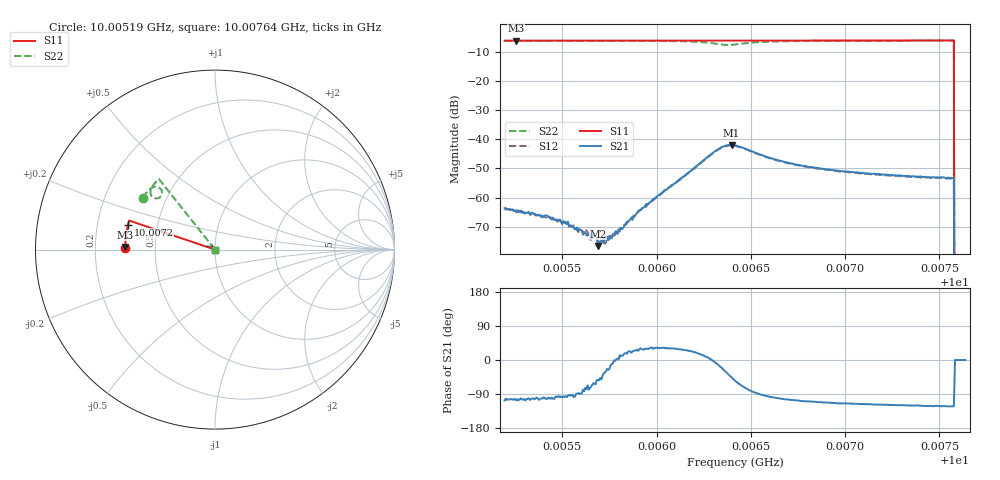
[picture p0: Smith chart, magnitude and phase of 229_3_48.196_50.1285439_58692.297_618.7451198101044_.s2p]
#  HZ  S  RI  R  50.00
! Rohde & Schwarz Vector Network Analyzer
! Rohde-Schwarz,ZNB20-2Port,1311601062101988,3.16
! Created: UTC 3/20/2024, 11:46:17 AM
! freq[Hz]  re:S11  im:S11  re:S21  im:S21  re:S12  im:S12  re:S22  im:S22
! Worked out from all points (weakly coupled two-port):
!   401 points, 10.00519 GHz to 10.00764 GHz, reference 50 ohm
!   highest |S21| = -41.91 dB at 10.0064 GHz (marker M1); lowest = -76.7 dB at 10.00569 GHz (marker M2)
!   lowest |S11| = -6.0 dB at 10.00526 GHz (marker M3), VSWR 3.00, Z = 16.7 + j0.629 ohm
!   |S11| at or under -10 dB: 10.00758 GHz to end of sweep
!   |S22| runs from - to -6.0 dB; largest |S21 - S12| = 0.00047
!   S11 on the Smith chart (normalised r, x): 10.00519 GHz: 0.33, +0.01; 10.0072 GHz: 0.34, +0.12; 10.00764 GHz: 1.00, +0.00
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1.0005194e10  -0.5 0.0102  -0.000187 -0.000628  -0.000151 -0.0006  -0.4022 0.2895
1.0005255e10  -0.4999 0.0141  -0.00017 -0.000578  -8.8e-05 -0.000549  -0.3997 0.2931
1.0005438e10  -0.4999 0.026  -9.78e-05 -0.000443  -3.48e-05 -0.00043  -0.3922 0.3039
1.0005518e10  -0.4997 0.0312  -3.61e-05 -0.000382  -2.53e-05 -0.00037  -0.3886 0.3088
1.0005603e10  -0.4995 0.0369  6.68e-06 -0.00027  1.77e-05 -0.000273  -0.3846 0.3139
1.0005652e10  -0.4995 0.0399  6.51e-05 -0.00018  4.76e-05 -0.00018  -0.3821 0.3168
1.0005671e10  -0.4994 0.0411  9.85e-05 -0.000187  8.47e-05 -0.000176  -0.3811 0.3179
1.0005689e10  -0.4993 0.0424  8.8e-05 -0.000117  0.000125 -0.000153  -0.3801 0.3192
1.0005738e10  -0.4991 0.0455  0.000193 -8.29e-05  0.000171 -9.64e-05  -0.3775 0.3224
1.0005805e10  -0.4988 0.0499  0.000263 6e-05  0.000259 3.01e-05  -0.3736 0.3265
1.0005909e10  -0.4981 0.0566  0.000527 0.000285  0.000516 0.000323  -0.3666 0.3335
1.0006013e10  -0.4977 0.0633  0.00094 0.00057  0.000905 0.000605  -0.3578 0.3406
1.0006318e10  -0.4949 0.083  0.00646 -0.00105  0.00634 -0.000696  -0.2965 0.3275
1.0006397e10  -0.4941 0.0875  0.00557 -0.00578  0.00572 -0.00537  -0.3122 0.2884
1.0006416e10  -0.4941 0.0885  0.00457 -0.0064  0.00484 -0.00603  -0.3221 0.2853
1.000663e10  -0.4923 0.1022  -0.000745 -0.00448  -0.000546 -0.0044  -0.3594 0.3261
1.0006825e10  -0.4901 0.1146  -0.00111 -0.00313  -0.001 -0.00307  -0.3512 0.3488
1.0007198e10  -0.4849 0.1382  -0.00117 -0.00221  -0.00105 -0.00222  -0.3318 0.3739
1.0007234e10  -0.4843 0.1405  -0.00117 -0.00213  -0.00105 -0.00214  -0.33 0.3759
1.0007564e10  -0.4786 0.161  -0.00117 -0.00185  -0.00107 -0.00184  -0.3132 0.3926
1.0007595e10  0 0  0 0  0 0  0 0
1.0007637e10  0 0  0 0  0 0  0 0
